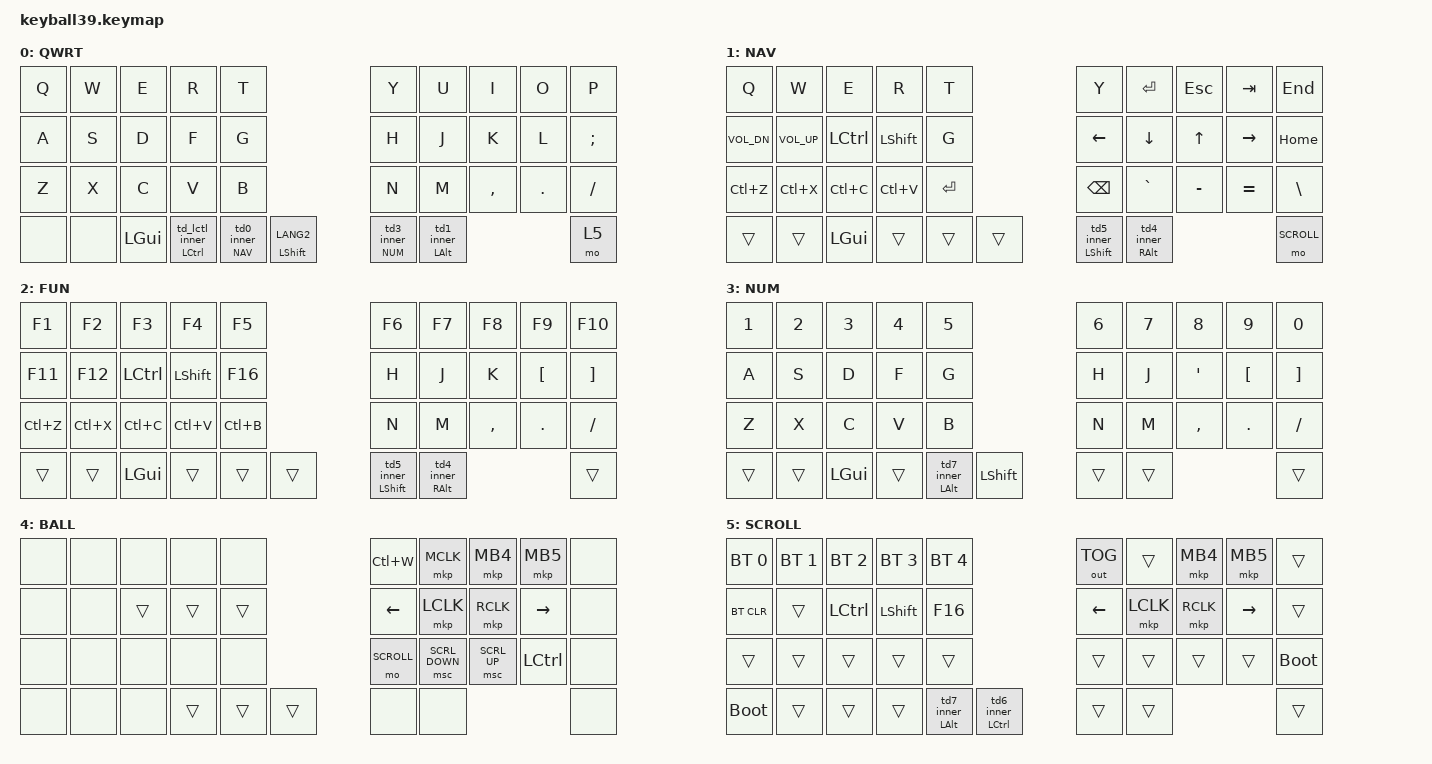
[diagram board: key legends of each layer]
// Migrated from Keyball44 (zmk-config-Keyball44/config/keyball44.keymap).
// Keyball44 = 6 columns/side + 5+3 thumbs (44 keys).
// Keyball39 = 5 columns/side + 6+3 thumbs (39 keys).
//

#define DEFAULT 0
#define NAV     1
#define FUN     2
#define NUM     3
#define BALL    4
#define SCROLL  5

#include <behaviors/mouse_keys.dtsi>
#include <behaviors.dtsi>
#include <input/processors.dtsi>
#include <dt-bindings/zmk/bt.h>
#include <dt-bindings/zmk/keys.h>
#include <dt-bindings/zmk/pointing.h>
#include <dt-bindings/zmk/outputs.h>

// nice!view ディスプレイ(SPI接続)
&nice_view_spi { cs-gpios = <&pro_micro 1 GPIO_ACTIVE_HIGH>; };

&lt {
    tapping-term-ms = <180>;
    flavor = "hold-preferred";
    quick-tap-ms = <150>;
    require-prior-idle-ms = <80>;
};

&mt {
    tapping-term-ms = <180>;
    flavor = "hold-preferred";
    quick-tap-ms = <150>;
    require-prior-idle-ms = <80>;
};

&caps_word { continue-list = <UNDERSCORE MINUS>; };

// === トラックボール操作時の BALL 層自動切り替え ===
// ドライバ側の automouse-layer は無効化し、ZMK 標準の入力プロセッサで制御する。
// (keyball39_right.overlay の automouse-layer = <(-1)> と対で機能する)
&zip_temp_layer {
    // 直前の打鍵から 300ms 以内はボールを動かしても BALL 層へ入らない。
    // タイピング中に手のひらがボールに触れたときの誤爆を防ぐ。
    //
    // 150ms では足りなかった。60 WPM のタイピングは打鍵間隔が約 200ms あるため、
    // ほぼ全ての文字間に抑制窓を超える隙ができ、そこで誤爆していた。
    // 300ms は 40 WPM 相当。
    //
    // 抑制されるのはレイヤー切替だけで、ポインタ移動は影響を受けない
    // (temp_layer_handle_event は常に ZMK_INPUT_PROC_CONTINUE を返す)。
    // つまりカーソルは打鍵直後でも動き、クリックキーが使えるまで 300ms 待つだけ。
    require-prior-idle-ms = <300>;

    // ここに挙げた位置「以外」のキーを押すと BALL 層を即座に解除する。
    // = BALL 層で実際に使うキー(右手クラスタ + 左親指 td_lctl)だけを列挙。
    //   row0:  5  6  7  8         LC(W) MCLK MB4 MB5
    //   row1: 15 16 17 18         LEFT LCLK RCLK RIGHT
    //   row2: 25 26 27 28         MO(SCROLL) SCRL_DN SCRL_UP LCTRL
    //   row3: 33                  trans(td_lctl)
    //   ※ 左手 D F G(12-14) と親指 34 35 は trans だが、押すと BALL 層を抜ける。
    excluded-positions = <5 6 7 8 15 16 17 18 25 26 27 28 33>;
};

/ {
    // ボールが止まってから 500ms で BALL 層を抜ける。
    // 上の excluded-positions により通常キーを打てば即座に抜けるので、
    // クリックしやすいよう長めに取っても誤爆は増えない。
    trackball_listener {
        input-processors = <&zip_temp_layer BALL 500>;
    };

    behaviors {
        // === 左親指キー: hold=引数のmod(LCTRL) / 1タップ=無反応 / 2タップ=LC(LSHFT) ===
        // (旧 td_ball。BALL 層とは無関係のため改名)
        td_lctl_inner: td_lctl_inner {
            compatible = "zmk,behavior-tap-dance";
            #binding-cells = <0>;
            tapping-term-ms = <250>;
            bindings = <&none>, <&kp LC(LSHFT)>;
        };
        td_lctl: td_lctl {
            compatible = "zmk,behavior-hold-tap";
            #binding-cells = <2>;
            flavor = "hold-preferred";
            tapping-term-ms = <250>;
            quick-tap-ms = <250>;
            require-prior-idle-ms = <80>;
            bindings = <&kp>, <&td_lctl_inner>;
        };

        // === Vial tap-dance 再現 (逆ネスト方式 + quick-tap-ms) ===
        // 外側 hold-tap（hold判定をpress時点で確立 → ホールド+他キー即動作）
        // 内側 tap-dance（tap時に多重押下で2nd-action発動）
        // quick-tap-ms により「タップ→ホールド」も内側で正しく検出

        // --- 内側 tap-dance: tap時の単押し/連打分岐 ---
        td0_inner: td0_inner {
            compatible = "zmk,behavior-tap-dance";
            #binding-cells = <0>;
            tapping-term-ms = <250>;
            bindings = <&kp SPACE>, <&mo FUN>;
        };
        td1_inner: td1_inner {
            compatible = "zmk,behavior-tap-dance";
            #binding-cells = <0>;
            tapping-term-ms = <250>;
            bindings = <&kp SPACE>, <&kp LSHFT>;
        };
        td2_inner: td2_inner {
            compatible = "zmk,behavior-tap-dance";
            #binding-cells = <0>;
            tapping-term-ms = <250>;
            bindings = <&kp LANG2>, <&kp LCTRL>;
        };
        td3_inner: td3_inner {
            compatible = "zmk,behavior-tap-dance";
            #binding-cells = <0>;
            tapping-term-ms = <250>;
            bindings = <&kp LANG1>, <&kp LCTRL>;
        };
        td4_inner: td4_inner {
            compatible = "zmk,behavior-tap-dance";
            #binding-cells = <0>;
            tapping-term-ms = <250>;
            bindings = <&none>, <&sk RA(RSHFT)>;
        };
        td5_inner: td5_inner {
            compatible = "zmk,behavior-tap-dance";
            #binding-cells = <0>;
            tapping-term-ms = <250>;
            bindings = <&kp DEL>, <&kp LCTRL>;
        };
        td6_inner: td6_inner {
            compatible = "zmk,behavior-tap-dance";
            #binding-cells = <0>;
            tapping-term-ms = <250>;
            bindings = <&none>, <&kp LSHFT>;
        };
        td7_inner: td7_inner {
            compatible = "zmk,behavior-tap-dance";
            #binding-cells = <0>;
            tapping-term-ms = <250>;
            bindings = <&none>, <&kp LSHFT>;
        };

        // --- 外側 hold-tap: hold-preferred+quick-tap-ms で全機能を両立 ---
        td0: td0 { // hold=MO(layer), tap=td0_inner / 呼出: &td0 NAV 0
            compatible = "zmk,behavior-hold-tap";
            #binding-cells = <2>;
            flavor = "hold-preferred";
            tapping-term-ms = <250>;
            quick-tap-ms = <250>;
            require-prior-idle-ms = <80>;
            bindings = <&mo>, <&td0_inner>;
        };
        td1: td1 { // hold=&kp(mod), tap=td1_inner / 呼出: &td1 LALT 0
            compatible = "zmk,behavior-hold-tap";
            #binding-cells = <2>;
            flavor = "hold-preferred";
            tapping-term-ms = <250>;
            quick-tap-ms = <250>;
            require-prior-idle-ms = <80>;
            bindings = <&kp>, <&td1_inner>;
        };
        td2: td2 { // 呼出: &td2 FUN 0
            compatible = "zmk,behavior-hold-tap";
            #binding-cells = <2>;
            flavor = "hold-preferred";
            tapping-term-ms = <250>;
            quick-tap-ms = <250>;
            require-prior-idle-ms = <80>;
            bindings = <&mo>, <&td2_inner>;
        };
        td3: td3 { // 呼出: &td3 NUM 0
            compatible = "zmk,behavior-hold-tap";
            #binding-cells = <2>;
            flavor = "hold-preferred";
            tapping-term-ms = <250>;
            quick-tap-ms = <250>;
            require-prior-idle-ms = <80>;
            bindings = <&mo>, <&td3_inner>;
        };
        td4: td4 { // 呼出: &td4 RALT 0
            compatible = "zmk,behavior-hold-tap";
            #binding-cells = <2>;
            flavor = "hold-preferred";
            tapping-term-ms = <250>;
            quick-tap-ms = <250>;
            require-prior-idle-ms = <80>;
            bindings = <&kp>, <&td4_inner>;
        };
        td5: td5 { // 呼出: &td5 LSHFT 0
            compatible = "zmk,behavior-hold-tap";
            #binding-cells = <2>;
            flavor = "hold-preferred";
            tapping-term-ms = <250>;
            quick-tap-ms = <250>;
            require-prior-idle-ms = <80>;
            bindings = <&kp>, <&td5_inner>;
        };
        td6: td6 { // 呼出: &td6 LCTRL 0
            compatible = "zmk,behavior-hold-tap";
            #binding-cells = <2>;
            flavor = "hold-preferred";
            tapping-term-ms = <250>;
            quick-tap-ms = <250>;
            require-prior-idle-ms = <80>;
            bindings = <&kp>, <&td6_inner>;
        };
        td7: td7 { // 呼出: &td7 LALT 0
            compatible = "zmk,behavior-hold-tap";
            #binding-cells = <2>;
            flavor = "hold-preferred";
            tapping-term-ms = <250>;
            quick-tap-ms = <250>;
            require-prior-idle-ms = <80>;
            bindings = <&kp>, <&td7_inner>;
        };
    };

    keymap {
        compatible = "zmk,keymap";

        // L0: 英字 / 親指: td0=NAV, mt=LSHFT, td3=NUM, td1=LALT
        // 左親指は内側へ寄せ c2(LGUI)/c3(LCTRL)/c4(NAV)/c5(LSHFT) に集約。
        // 外側 c0/c1 は空き(&none)。
        default_layer {
            display-name = "QWRT";
            bindings = <
&kp Q  &kp W   &kp E    &kp R             &kp T                            &kp Y       &kp U        &kp I      &kp O    &kp P
&kp A  &kp S   &kp D    &kp F             &kp G                            &kp H       &kp J        &kp K      &kp L    &kp SEMI
&kp Z  &kp X   &kp C    &kp V             &kp B                            &kp N       &kp M        &kp COMMA  &kp DOT  &kp FSLH
&none  &none   &kp LGUI &td_lctl LCTRL 0  &td0 NAV 0      &mt LSHFT LANG2  &td3 NUM 0  &td1 LALT 0                      &mo 5
            >;
        };

        // L1: ナビ / 音量 / コピペ
        nav_layer {
            display-name = "NAV";
            bindings = <
&kp Q         &kp W         &kp E      &kp R      &kp T                          &kp Y     &kp ENTER  &kp ESC    &kp TAB    &kp END
&kp C_VOL_DN  &kp C_VOL_UP  &kp LCTRL  &kp LSHFT  &kp G                          &kp LEFT  &kp DOWN   &kp UP     &kp RIGHT  &kp HOME
&kp LC(Z)     &kp LC(X)     &kp LC(C)  &kp LC(V)  &kp ENTER                      &kp BSPC  &kp GRAVE  &kp MINUS  &kp EQUAL  &kp BSLH
&trans  &trans  &kp LGUI  &trans  &trans      &trans  &td5 LSHFT 0  &td4 RALT 0                            &mo SCROLL
            >;
        };

        // L2: F-key / マウスホイール / マウスボタン
        fun_layer {
            display-name = "FUN";
            bindings = <
&kp F1     &kp F2     &kp F3     &kp F4     &kp F5                            &kp F6  &kp F7  &kp F8     &kp F9    &kp F10
&kp F11    &kp F12    &kp LCTRL  &kp LSHFT  &kp F16                           &kp H   &kp J   &kp K      &kp LBKT  &kp RBKT
&kp LC(Z)  &kp LC(X)  &kp LC(C)  &kp LC(V)  &kp LC(B)                         &kp N   &kp M   &kp COMMA  &kp DOT   &kp FSLH
&trans  &trans  &kp LGUI  &trans  &trans     &trans  &td5 LSHFT 0  &td4 RALT 0                          &trans
            >;
        };

        // L3: 数字行 / td7=&kp LALT
        num_layer {
            display-name = "NUM";
            bindings = <
&kp N1  &kp N2    &kp N3  &kp N4  &kp N5                              &kp N6  &kp N7  &kp N8     &kp N9    &kp N0
&kp A   &kp S     &kp D   &kp F   &kp G                               &kp H   &kp J   &kp SQT    &kp LBKT  &kp RBKT
&kp Z   &kp X     &kp C   &kp V   &kp B                               &kp N   &kp M   &kp COMMA  &kp DOT   &kp FSLH
&trans  &trans  &kp LGUI  &trans  &td7 LALT 0  &kp LSHFT  &trans  &trans                                  &trans
            >;
        };

        // L4: BALL (マウスボタン / スクロール起動)
        ball_layer {
            display-name = "BALL";
            bindings = <
&none  &none  &none       &none      &none                       &kp LC(W)   &mkp MCLK       &mkp MB4      &mkp MB5   &none
&none  &none  &trans     &trans     &trans                       &kp LEFT    &mkp LCLK       &mkp RCLK     &kp RIGHT  &none
&none  &none  &none       &none      &none                       &mo SCROLL  &msc SCRL_DOWN  &msc SCRL_UP  &kp LCTRL  &none
&none  &none  &none  &trans      &trans       &trans         &none       &none                                   &none
            >;
        };

        // L5: SCROLL (BT/出力切替 / 方向スクロール)
        scroll_layer {
            display-name = "SCROLL";
            bindings = <
&bt BT_SEL 0     &bt BT_SEL 1     &bt BT_SEL 2     &bt BT_SEL 3     &bt BT_SEL 4        &out OUT_TOG     &trans           &mkp MB4         &mkp MB5         &trans
&bt BT_CLR       &trans           &kp LCTRL        &kp LSHFT        &kp F16        &kp LEFT         &mkp LCLK        &mkp RCLK        &kp RIGHT        &trans
&trans           &trans           &trans           &trans           &trans        &trans           &trans           &trans           &trans           &bootloader
&bootloader      &trans           &trans           &trans           &td7 LALT 0      &td6 LCTRL 0        &trans           &trans           &trans
            >;
        };
    };
};
